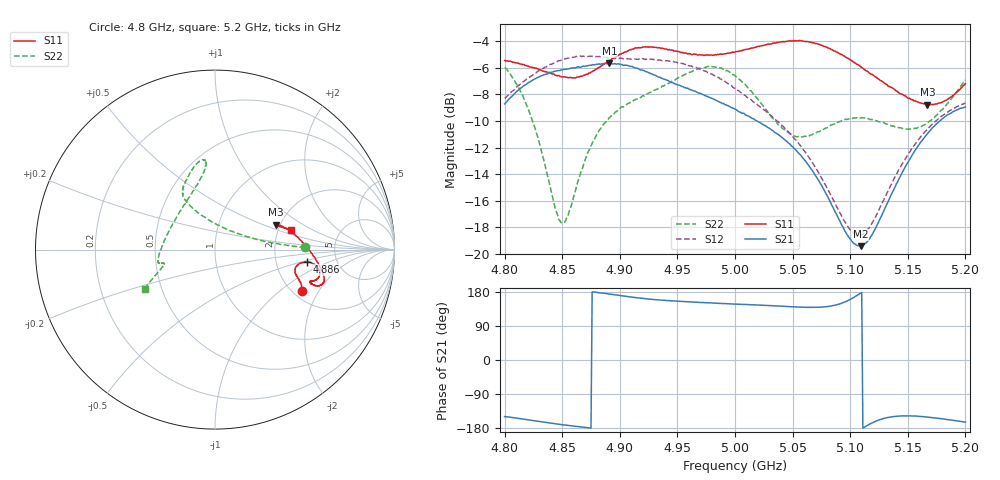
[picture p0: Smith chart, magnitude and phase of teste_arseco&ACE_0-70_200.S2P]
! Network Analyzer HP8722D
! Hewlett-Packard
! Data name: Linha & Wilkinson
! Saver's name: Rodrigo Anjos
! Comments: Teste da utilização de aquisição
! continua pelo VNA HP8722D
! Time and date: 8/5/2025 14:25
!  Frequency  S11  S21  S12  S22
# HZ  S  MA R 50
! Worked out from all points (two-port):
!   401 points, 4.8 GHz to 5.2 GHz, reference 50 ohm
!   highest |S21| = -5.68 dB at 4.891 GHz (marker M1); lowest = -19.4 dB at 5.109 GHz (marker M2)
!   |S21| within 3 dB of the highest: 4.8 GHz to 4.989 GHz (188.2 MHz wide, 3.84 % of centre)
!   lowest |S11| = -8.8 dB at 5.167 GHz (marker M3), VSWR 2.15, Z = 94.6 + j30.2 ohm
!   |S11| at or under -10 dB: nowhere
!   |S22| runs from -17.7 to -5.9 dB; largest |S21 - S12| = 1.1
!   S11 on the Smith chart (normalised r, x): 4.8 GHz: 2.24, -1.43; 4.886 GHz: 3.01, -0.56; 5.2 GHz: 2.34, +0.64
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4.8e9  0.5336 -25.3  0.3662 -149.3  0.3842 10.2  0.5013 1.3
4.812e9  0.5203 -22.2  0.4125 -154.1  0.4303 8.5  0.4226 2.7
4.822e9  0.5044 -20.7  0.4429 -158.5  0.4628 6.9  0.3372 5.9
4.845e9  0.4685 -16.9  0.4873 -168.7  0.5248 3.4  0.1438 42.5
4.849e9  0.4643 -16.1  0.4915 -170.4  0.5347 2.7  0.1311 59.6
4.855e9  0.4596 -14.3  0.4962 -172.6  0.544 1.6  0.139 85.4
4.867e9  0.465 -10.9  0.5052 -176.8  0.5508 -0.1  0.2064 112.0
4.886e9  0.5155 -7.6  0.5194 176.1  0.5493 -1.1  0.3074 120.8
4.891e9  0.533 -7.5  0.52 173.9  0.5458 -1.2  0.3259 120.8
4.912e9  0.5886 -10.7  0.5022 165.3  0.5385 -0.7  0.3776 118.4
4.934e9  0.5959 -15.7  0.4617 158.6  0.5367 -1.7  0.4193 112.3
4.977e9  0.5586 -18.8  0.389 150.9  0.4798 -5.6  0.5067 98.4
5e9  0.5735 -19.6  0.3499 147.5  0.4191 -5.4  0.4674 96.6
5.043e9  0.627 -17.7  0.2688 141.6  0.2976 2.5  0.2934 130.0
5.067e9  0.622 -13.5  0.2064 139.0  0.2214 9.3  0.2808 164.5
5.098e9  0.544 -2.7  0.1171 156.9  0.1266 37.7  0.3215 -170.6
5.109e9  0.5065 2.3  0.107 176.3  0.1177 59.3  0.3241 -167.2
5.118e9  0.4742 6.8  0.1163 -167.5  0.1285 76.6  0.32 -166.1
5.134e9  0.4257 14.7  0.1614 -151.1  0.1766 94.7  0.3051 -165.7
5.167e9  0.3644 22.3  0.2826 -150.6  0.2945 102.1  0.3109 -161.4
5.183e9  0.3775 20.1  0.3295 -156.5  0.338 102.1  0.3611 -156.5
5.2e9  0.4366 14.8  0.3566 -164.0  0.3695 102.6  0.4508 -150.6
